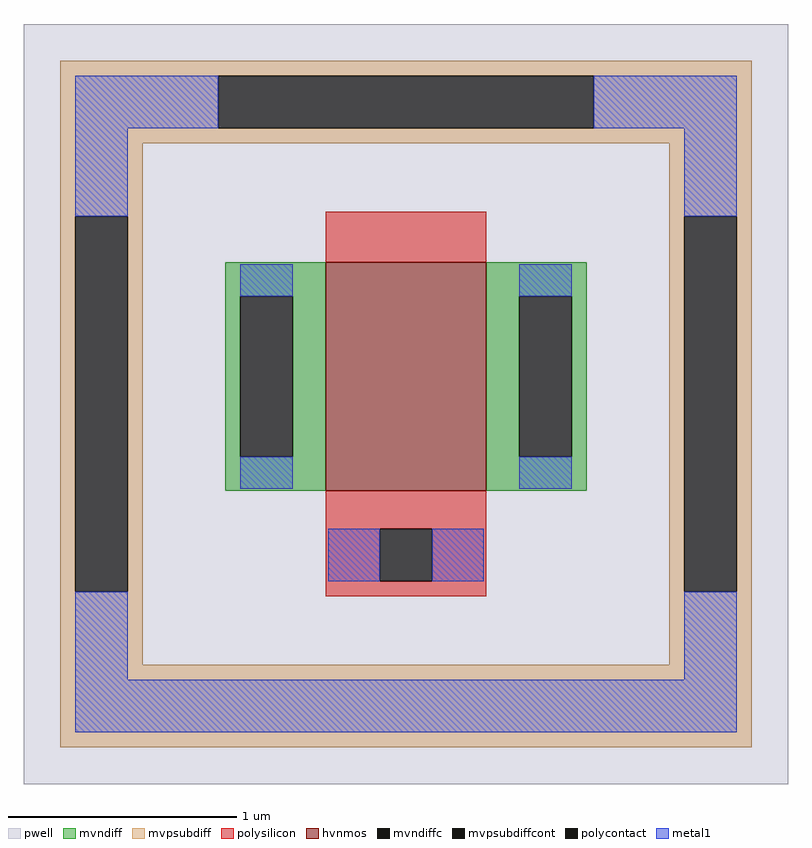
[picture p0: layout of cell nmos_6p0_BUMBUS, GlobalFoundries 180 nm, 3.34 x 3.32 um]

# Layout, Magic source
magic
tech gf180mcuD
magscale 1 10
<< pwell >>
rect -334 -332 334 332
<< hvnmos >>
rect -70 -76 70 124
<< mvndiff >>
rect -158 94 -70 124
rect -158 -46 -145 94
rect -99 -46 -70 94
rect -158 -76 -70 -46
rect 70 94 158 124
rect 70 -46 99 94
rect 145 -46 158 94
rect 70 -76 158 -46
<< mvndiffc >>
rect -145 -46 -99 94
rect 99 -46 145 94
<< mvpsubdiff >>
rect -302 287 302 300
rect -302 241 -164 287
rect 164 241 302 287
rect -302 228 302 241
rect -302 164 -230 228
rect -302 -164 -289 164
rect -243 -164 -230 164
rect 230 164 302 228
rect -302 -228 -230 -164
rect 230 -164 243 164
rect 289 -164 302 164
rect 230 -228 302 -164
rect -302 -300 302 -228
<< mvpsubdiffcont >>
rect -164 241 164 287
rect -289 -164 -243 164
rect 243 -164 289 164
<< polysilicon >>
rect -70 124 70 168
rect -70 -109 70 -76
rect -70 -155 -23 -109
rect 23 -155 70 -109
rect -70 -168 70 -155
<< polycontact >>
rect -23 -155 23 -109
<< metal1 >>
rect -289 241 -164 287
rect 164 241 289 287
rect -289 164 -243 241
rect 243 164 289 241
rect -145 94 -99 122
rect -145 -74 -99 -46
rect 99 94 145 122
rect 99 -74 145 -46
rect -68 -155 -23 -109
rect 23 -155 68 -109
rect -289 -241 -243 -164
rect 243 -241 289 -164
rect -289 -287 289 -241
<< properties >>
string FIXED_BBOX -266 -264 266 264
string GDS_END 3000
string GDS_FILE ../gds/simple_por.gds.gz
string GDS_START 116
<< end >>
